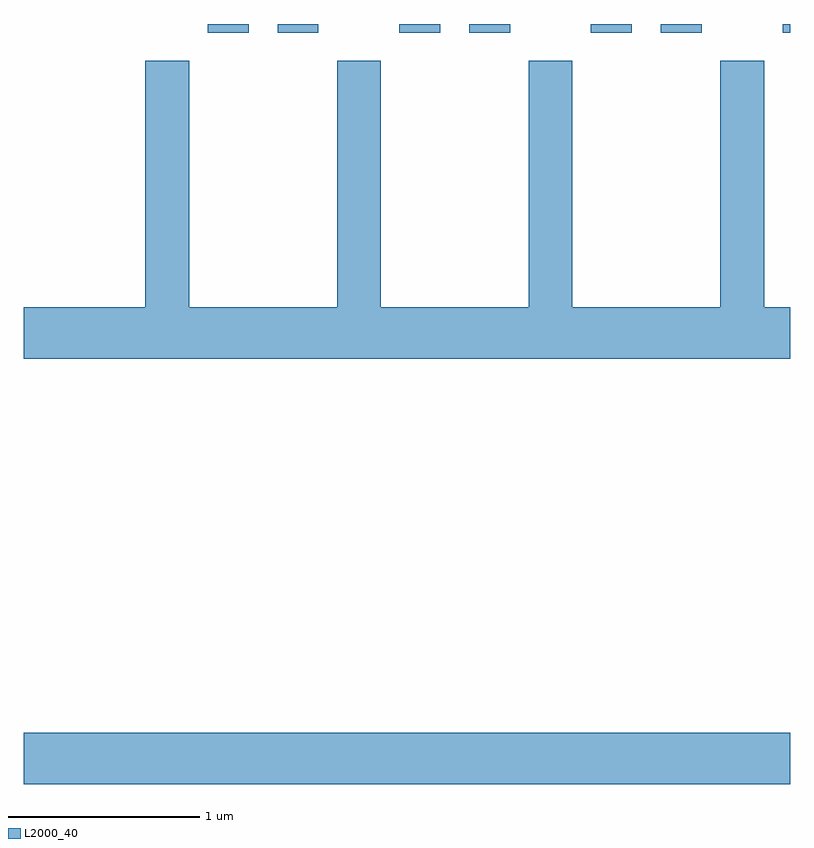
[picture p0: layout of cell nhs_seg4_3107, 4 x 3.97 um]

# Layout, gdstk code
import gdstk
lib = gdstk.Library(unit=1e-6, precision=1e-09)
def R(c, l, rs):  # rectangles x0, y0, x1, y1
    for r in rs: c.add(gdstk.rectangle(r[:2], r[2:], *l))
def P(c, l, *ps):  # polygons
    for p in ps: c.add(gdstk.Polygon(p, *l))
L2000_40 = (2000, 40)

nhs_seg4_3107 = lib.new_cell('nhs_seg4_3107')
R(nhs_seg4_3107, L2000_40, [(275.611,1348.016,279.611,1348.284), (276.571,1351.936,276.784,1351.982), (276.936,1351.936,277.149,1351.982), (277.571,1351.936,277.784,1351.982), (277.936,1351.936,278.149,1351.982), (278.571,1351.936,278.784,1351.982), (278.936,1351.936,279.149,1351.982), (279.571,1351.936,279.611,1351.982)])
P(nhs_seg4_3107, L2000_40, [(279.611,1350.504),(279.474,1350.504),(279.474,1351.789),(279.246,1351.789),(279.246,1350.504),(278.474,1350.504),(278.474,1351.789),(278.246,1351.789),(278.246,1350.504),(277.474,1350.504),(277.474,1351.789),(277.246,1351.789),(277.246,1350.504),(276.474,1350.504),(276.474,1351.789),(276.246,1351.789),(276.246,1350.504),(275.611,1350.504),(275.611,1350.236),(279.611,1350.236)])

lib.write_gds('nhs_seg4_3107.gds')
